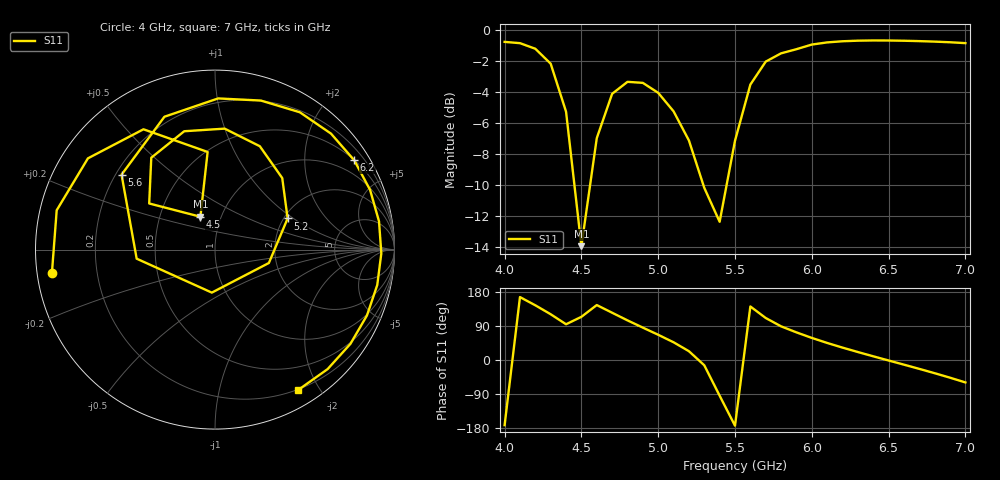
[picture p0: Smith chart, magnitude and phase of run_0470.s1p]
! Touchstone file exported from HFSS 2024.2.0
!  File:  C:/Users/wsak9/Desktop/Sim Fast/Widenad Patch/WP_AI_V1_sweep.aedt
!  Generated:  11:33:48 AM Oct 14, 2026
!  Design:  A1_model
!  Project:  WP_AI_V1_sweep
!  Setup:  Setup1
!  Solution:  Sweep
! Variables:
!  Air_gap = 2.52mm
!  Curve_Amp1 = 3.9
!  Curve_len1 = 1
!  Curve_pos = 12.525mm
!  Extra = 7.21mm
!  H_sub = 0.79mm
!  L_Patch = 21.05mm
!  L_Patch1 = 18.59mm
!  Sx = 4.25mm
!  Sy = 2.27mm
!  WS = 0.76mm
!  W_Patch = 11.43mm
!  W_Patch1 = 11.38mm
!Data is not renormalized
# GHz S MA
! Terminal data exported
! Port[1] = 1
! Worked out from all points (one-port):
!   31 points, 4 GHz to 7 GHz, reference per port
!   lowest |S11| = -14.0 dB at 4.5 GHz (marker M1), VSWR 1.50
!   |S11| at or under -10 dB: 4.454 GHz to 4.557 GHz (102.3 MHz wide, 2.27 % of centre); 5.294 GHz to 5.446 GHz (151.8 MHz wide, 2.83 % of centre)
!   S11 on the Smith chart (normalised r, x): 4 GHz: 0.04, -0.07; 4.5 GHz: 0.80, +0.30; 5.2 GHz: 2.10, +0.90; 5.6 GHz: 0.22, +0.34; 6.2 GHz: 0.50, +3.34; 7 GHz: 0.19, -1.74
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4  0.9175 -172.0
4.1  0.9088 166.0
4.2  0.8716 144.3
4.3  0.7799 120.7
4.4  0.5456 94.3
4.5  0.2003 113.9
4.6  0.4477 145.0
4.7  0.6231 124.7
4.8  0.6813 104.6
4.9  0.6761 85.4
5  0.6277 66.5
5.1  0.547 46.8
5.2  0.4403 23.2
5.3  0.3093 -13.9
5.4  0.2402 -94.2
5.5  0.4393 -173.4
5.6  0.6675 141.3
5.7  0.7921 110.8
5.8  0.8425 88.8
5.9  0.8689 72.9
6  0.8993 58.3
6.1  0.9139 45.0
6.2  0.9217 32.7
6.3  0.9258 21.0
6.5  0.9269 -1.3
6.7  0.9227 -23.4
6.9  0.9149 -46.7
7  0.909 -59.2
